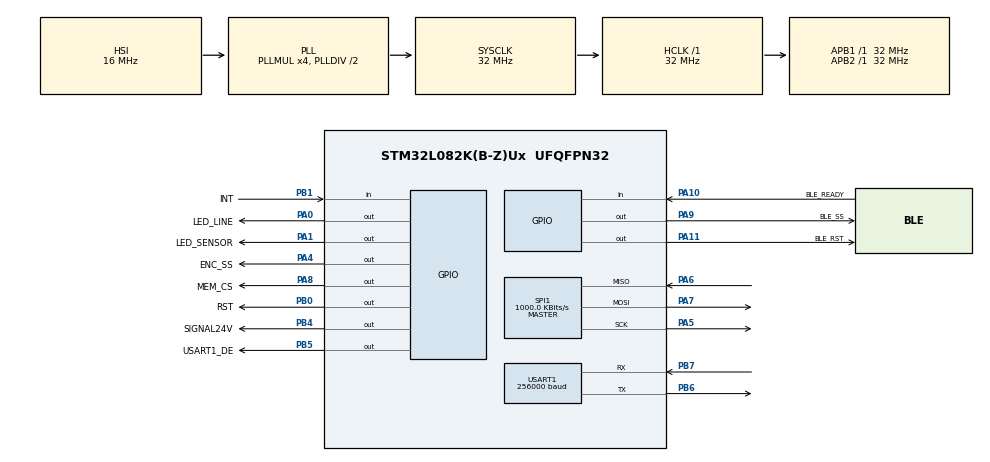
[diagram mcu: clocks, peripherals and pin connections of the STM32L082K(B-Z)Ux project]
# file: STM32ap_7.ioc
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ADC.ContinuousConvMode=ENABLE
ADC.SamplingTime=ADC_SAMPLETIME_39CYCLES_5
IWDG.Prescaler=IWDG_PRESCALER_64
IWDG.Reload=3000
IWDG.Window=3000
Mcu.Family=STM32L0
Mcu.Name=STM32L082K(B-Z)Ux
Mcu.Package=UFQFPN32
NVIC.TIM2_IRQn=true\:0\:0\:false\:false\:true\:true\:true
NVIC.TIM6_DAC_IRQn=true\:0\:0\:false\:false\:true\:true\:true
NVIC.USART1_IRQn=true\:1\:0\:true\:false\:true\:true\:true
PA0.GPIO_Label=LED_LINE
PA0.Signal=GPIO_Output
PA1.GPIO_Label=LED_SENSOR
PA1.Signal=GPIO_Output
PA10.GPIO_Label=BLE_READY
PA10.GPIO_PuPd=GPIO_PULLUP
PA10.Signal=GPIO_Input
PA11.GPIO_Label=BLE_RST
PA11.Signal=GPIO_Output
PA13.Mode=Serial_Wire
PA13.Signal=SYS_SWDIO
PA14.Mode=Serial_Wire
PA14.Signal=SYS_SWCLK
PA4.GPIO_Label=ENC_SS
PA4.GPIO_PuPd=GPIO_PULLUP
PA4.PinState=GPIO_PIN_SET
PA4.Signal=GPIO_Output
PA5.Mode=Full_Duplex_Master
PA5.Signal=SPI1_SCK
PA6.Mode=Full_Duplex_Master
PA6.Signal=SPI1_MISO
PA7.Mode=Full_Duplex_Master
PA7.Signal=SPI1_MOSI
PA8.GPIO_Label=MEM_CS
PA8.GPIO_PuPd=GPIO_PULLUP
PA8.PinState=GPIO_PIN_SET
PA8.Signal=GPIO_Output
PA9.GPIO_Label=BLE_SS
PA9.GPIO_PuPd=GPIO_PULLUP
PA9.PinState=GPIO_PIN_SET
PA9.Signal=GPIO_Output
PB0.GPIO_Label=RST
PB0.Signal=GPIO_Output
PB1.GPIO_Label=INT
PB1.Signal=GPIO_Input
PB4.GPIO_Label=SIGNAL24V
PB4.Signal=GPIO_Output
PB5.GPIO_Label=USART1_DE
PB5.Signal=GPIO_Output
PB6.Mode=Asynchronous
PB6.Signal=USART1_TX
PB7.Mode=Asynchronous
PB7.Signal=USART1_RX
ProjectManager.HeapSize=0x200
ProjectManager.StackSize=0x400
ProjectManager.TargetToolchain=Makefile
RCC.AHBFreq_Value=32000000
RCC.APB1Freq_Value=32000000
RCC.APB1TimFreq_Value=32000000
RCC.APB2Freq_Value=32000000
RCC.APB2TimFreq_Value=32000000
RCC.HCLKFreq_Value=32000000
RCC.HSI16_VALUE=16000000
RCC.HSI48_VALUE=48000000
RCC.HSI_VALUE=16000000
RCC.LSE_VALUE=32768
RCC.MSI_VALUE=2097000
RCC.PLLMUL=RCC_PLLMUL_4
RCC.SYSCLKFreq_VALUE=32000000
RCC.SYSCLKSource=RCC_SYSCLKSOURCE_PLLCLK
RCC.VCOOutputFreq_Value=64000000
SPI1.BaudRatePrescaler=SPI_BAUDRATEPRESCALER_32
SPI1.CalculateBaudRate=1000.0 KBits/s
SPI1.Direction=SPI_DIRECTION_2LINES
SPI1.Mode=SPI_MODE_MASTER
SPI1.VirtualType=VM_MASTER
TIM2.Period=32000-1
TIM2.Prescaler=1000-1
TIM6.Period=1000-1
TIM6.Prescaler=32-1
USART1.BaudRate=256000
USART1.VirtualMode-Asynchronous=VM_ASYNC
VP_ADC_TempSens_Input.Mode=IN-TempSens
VP_ADC_Vref_Input.Mode=IN-Vrefint
VP_IWDG_VS_IWDG.Mode=IWDG_Activate
VP_TIM2_VS_ClockSourceINT.Mode=Internal
VP_TIM6_VS_ClockSourceINT.Mode=Enable_Timer
board=custom

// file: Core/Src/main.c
/* USER CODE BEGIN Header */
/**
  ******************************************************************************
  * @file           : main.c
  * @brief          : Main program body
  ******************************************************************************
  * @attention
  *
  * <h2><center>&copy; Copyright (c) 2021 STMicroelectronics.
  * All rights reserved.</center></h2>
  *
  * This software component is licensed by ST under BSD 3-Clause license,
  * the "License"; You may not use this file except in compliance with the
  * License. You may obtain a copy of the License at:
  *                        opensource.org/licenses/BSD-3-Clause
  *
  ******************************************************************************
  */
/* USER CODE END Header */
#include "main.h"

/* USER CODE BEGIN Includes */
#include "ETH/Internet.h"
#include "API/AttenderAPI.h"
#include "buffer/CoderBuffer.h"
#include "buffer/aes.h"
#include "buffer/base64.h"
#include "JSON/cJSON.h"
#include "memory/memory.h"
#include "programmer/programmer.h"
#include "Sensor.h"
/* USER CODE END Includes */

/* USER CODE BEGIN PTD */
#define smartios_versionCode "v.B.kor.recovery"
#define smartios_versionDate "20210920102130"

const char* SMARTIOS_VER  = smartios_versionCode;
const char* SMARTIOS_DATE = smartios_versionDate;

// first settings
Date nowDate;
//cJSON* saveDataJSON;
SavedData saveData;

#define USE_SAVEDATA_RECOVER

#ifdef USE_SAVEDATA_RECOVER
SavedData saveDataRecover = {0,};

#endif
/* USER CODE END PTD */

ADC_HandleTypeDef hadc;

IWDG_HandleTypeDef hiwdg;

SPI_HandleTypeDef hspi1;

TIM_HandleTypeDef htim2;
TIM_HandleTypeDef htim6;

UART_HandleTypeDef huart1;

void SystemClock_Config(void);
static void MX_GPIO_Init(void);
static void MX_SPI1_Init(void);
static void MX_USART1_UART_Init(void);
static void MX_ADC_Init(void);
static void MX_IWDG_Init(void);
static void MX_TIM2_Init(void);
static void MX_TIM6_Init(void);

/* USER CODE BEGIN 0 */
BOOL isCountNetWDG = FALSE;
uint32_t countNetWDG = 0;
uint32_t networkONtimer;
uint32_t ipcdTimer;
SOCKET debug_udp = UDP_INVALID_SOCKET;
IP_ADDR debug_udpIP = {255,255,255,255};
MAC_ADDR myMAC;
BOOL isCheckedFirmwareBackup  = FALSE;
BOOL isBackupNeeded  = FALSE;

uint8_t AESKeyBuffer[48];
/* USER CODE END 0 */

int main(void)
{

  /* MCU Configuration--------------------------------------------------------*/

  /* Reset of all peripherals, Initializes the Flash interface and the Systick. */
  HAL_Init();

  /* Configure the system clock */
  SystemClock_Config();

  /* USER CODE BEGIN SysInit */
  calibrate();
  Addstr_SystemInitalize();
  /* USER CODE END SysInit */

  /* Initialize all configured peripherals */
  MX_GPIO_Init();
  MX_SPI1_Init();
  MX_USART1_UART_Init();
  MX_ADC_Init();
  MX_IWDG_Init();
  MX_TIM2_Init();
  MX_TIM6_Init();
  /* USER CODE BEGIN 2 */
  UARTReceiver_init();
  printf("booting the recovery...\n");
  LEDBlink(1,400);

  extern BOOL isOnline;
  isOnline = -2;

  HAL_GPIO_WritePin(MEM_CS_GPIO_Port,MEM_CS_Pin,GPIO_PIN_SET);
  HAL_GPIO_WritePin(BLE_SS_GPIO_Port,BLE_SS_Pin,GPIO_PIN_SET);
  HAL_GPIO_WritePin(ENC_SS_GPIO_Port,ENC_SS_Pin,GPIO_PIN_SET);
  HAL_GPIO_WritePin(BLE_RST_GPIO_Port,BLE_RST_Pin,GPIO_PIN_RESET);// NRF52 keep reset
  HAL_GPIO_WritePin(SIGNAL24V_GPIO_Port,SIGNAL24V_Pin,TRUE);

  printf("Starting SMARTIOS AP recovery..\n");

  FLASH_MEM_Init();
  yield();

  printf("----------------------------------------------\n");
  printf("Firmware Verson : %s\n",SMARTIOS_VER);
  printf("Firmware Date   : %s\n",SMARTIOS_DATE);
  printf("----------------------------------------------\n");

  HAL_TIM_Base_Start_IT(&htim6);
  HAL_TIM_Base_Start_IT(&htim2);

  extern uint8_t UUID[16];

  myMAC = MACSet(0x12,0x23,0x34,(UUID[0]+UUID[3]+UUID[6]+UUID[9]+UUID[12]+UUID[15])&0xFF,(UUID[1]+UUID[4]+UUID[7]+UUID[10]+UUID[13])&0xFF,(UUID[2]+UUID[5]+UUID[8]+UUID[11]+UUID[14]) & 0xFF);

  //if it is blocked here, Please make SPI lines stablized. It may stuck during the SPI progress.
  printf("Starting DHCP...\n");
  EC_Init(saveData.apip,saveData.netmask,saveData.gwip,myMAC,1);
  //EC_Init(IPSet(192,168,0,28),IPSet(255,255,255,255),IPSet(192,168,0,1),myMAC,0);

  ipcdTimer = HAL_GetTick() - saveData.ipcdInterval*1000;
  countNetWDG = HAL_GetTick();

  checkConnectivity(TRUE);

  LEDBlink(2,400);

  /* USER CODE END 2 */

  /* Infinite loop */
  /* USER CODE BEGIN WHILE */
  while (1)
  {
    yield();
    if(nic_is_linked)checkConnectivity(FALSE);

    if(CheckIfOnline() != TRUE)continue;

    checkConnectivity(TRUE);
    Start_DebugUDP();
    dbuglog("SYSTEM ON!",TRUE);
    Debug("recovery start!\n");
    networkONtimer = HAL_GetTick();
    LEDBlink(4,500);

    while (nic_linked_and_ip_address_valid && isOnline)//retry internet.
    {
      if(HAL_GetTick() - ipcdTimer > 60*1000)
        Timer_ipcd();
    /* USER CODE END WHILE */

    /* USER CODE BEGIN 3 */
      //HAL_IWDG_Refresh(&hiwdg);
      yield();
      GetDebugRx();
    }
    End_DebugUDP();
    resetNetwork();
    checkConnectivity(TRUE);
    countNetWDG = HAL_GetTick();//exit loop
  }
  /* USER CODE END 3 */
}

void SystemClock_Config(void)
{
  RCC_OscInitTypeDef RCC_OscInitStruct = {0};
  RCC_ClkInitTypeDef RCC_ClkInitStruct = {0};
  RCC_PeriphCLKInitTypeDef PeriphClkInit = {0};

  /** Configure the main internal regulator output voltage
  */
  __HAL_PWR_VOLTAGESCALING_CONFIG(PWR_REGULATOR_VOLTAGE_SCALE1);
  /** Initializes the RCC Oscillators according to the specified parameters
  * in the RCC_OscInitTypeDef structure.
  */
  RCC_OscInitStruct.OscillatorType = RCC_OSCILLATORTYPE_HSI|RCC_OSCILLATORTYPE_LSI;
  RCC_OscInitStruct.HSIState = RCC_HSI_ON;
  RCC_OscInitStruct.HSICalibrationValue = RCC_HSICALIBRATION_DEFAULT;
  RCC_OscInitStruct.LSIState = RCC_LSI_ON;
  RCC_OscInitStruct.PLL.PLLState = RCC_PLL_ON;
  RCC_OscInitStruct.PLL.PLLSource = RCC_PLLSOURCE_HSI;
  RCC_OscInitStruct.PLL.PLLMUL = RCC_PLLMUL_4;
  RCC_OscInitStruct.PLL.PLLDIV = RCC_PLLDIV_2;
  if (HAL_RCC_OscConfig(&RCC_OscInitStruct) != HAL_OK)
  {
    Error_Handler();
  }
  /** Initializes the CPU, AHB and APB buses clocks
  */
  RCC_ClkInitStruct.ClockType = RCC_CLOCKTYPE_HCLK|RCC_CLOCKTYPE_SYSCLK
                              |RCC_CLOCKTYPE_PCLK1|RCC_CLOCKTYPE_PCLK2;
  RCC_ClkInitStruct.SYSCLKSource = RCC_SYSCLKSOURCE_PLLCLK;
  RCC_ClkInitStruct.AHBCLKDivider = RCC_SYSCLK_DIV1;
  RCC_ClkInitStruct.APB1CLKDivider = RCC_HCLK_DIV1;
  RCC_ClkInitStruct.APB2CLKDivider = RCC_HCLK_DIV1;

  if (HAL_RCC_ClockConfig(&RCC_ClkInitStruct, FLASH_LATENCY_1) != HAL_OK)
  {
    Error_Handler();
  }
  PeriphClkInit.PeriphClockSelection = RCC_PERIPHCLK_USART1;
  PeriphClkInit.Usart1ClockSelection = RCC_USART1CLKSOURCE_PCLK2;
  if (HAL_RCCEx_PeriphCLKConfig(&PeriphClkInit) != HAL_OK)
  {
    Error_Handler();
  }
}

static void MX_ADC_Init(void)
{

  ADC_ChannelConfTypeDef sConfig = {0};

  /** Configure the global features of the ADC (Clock, Resolution, Data Alignment and number of conversion)
  */
  hadc.Instance = ADC1;
  hadc.Init.OversamplingMode = DISABLE;
  hadc.Init.ClockPrescaler = ADC_CLOCK_SYNC_PCLK_DIV2;
  hadc.Init.Resolution = ADC_RESOLUTION_12B;
  hadc.Init.SamplingTime = ADC_SAMPLETIME_39CYCLES_5;
  hadc.Init.ScanConvMode = ADC_SCAN_DIRECTION_FORWARD;
  hadc.Init.DataAlign = ADC_DATAALIGN_RIGHT;
  hadc.Init.ContinuousConvMode = ENABLE;
  hadc.Init.DiscontinuousConvMode = DISABLE;
  hadc.Init.ExternalTrigConvEdge = ADC_EXTERNALTRIGCONVEDGE_NONE;
  hadc.Init.ExternalTrigConv = ADC_SOFTWARE_START;
  hadc.Init.DMAContinuousRequests = DISABLE;
  hadc.Init.EOCSelection = ADC_EOC_SINGLE_CONV;
  hadc.Init.Overrun = ADC_OVR_DATA_PRESERVED;
  hadc.Init.LowPowerAutoWait = DISABLE;
  hadc.Init.LowPowerFrequencyMode = DISABLE;
  hadc.Init.LowPowerAutoPowerOff = DISABLE;
  if (HAL_ADC_Init(&hadc) != HAL_OK)
  {
    Error_Handler();
  }
  /** Configure for the selected ADC regular channel to be converted.
  */
  sConfig.Channel = ADC_CHANNEL_TEMPSENSOR;
  sConfig.Rank = ADC_RANK_CHANNEL_NUMBER;
  if (HAL_ADC_ConfigChannel(&hadc, &sConfig) != HAL_OK)
  {
    Error_Handler();
  }
  /** Configure for the selected ADC regular channel to be converted.
  */
  sConfig.Channel = ADC_CHANNEL_VREFINT;
  if (HAL_ADC_ConfigChannel(&hadc, &sConfig) != HAL_OK)
  {
    Error_Handler();
  }

}

static void MX_IWDG_Init(void)
{

  hiwdg.Instance = IWDG;
  hiwdg.Init.Prescaler = IWDG_PRESCALER_256;
  hiwdg.Init.Window = 3000;
  hiwdg.Init.Reload = 3000;
  if (HAL_IWDG_Init(&hiwdg) != HAL_OK)
  {
    Error_Handler();
  }

}

static void MX_SPI1_Init(void)
{

  /* SPI1 parameter configuration*/
  hspi1.Instance = SPI1;
  hspi1.Init.Mode = SPI_MODE_MASTER;
  hspi1.Init.Direction = SPI_DIRECTION_2LINES;
  hspi1.Init.DataSize = SPI_DATASIZE_8BIT;
  hspi1.Init.CLKPolarity = SPI_POLARITY_LOW;
  hspi1.Init.CLKPhase = SPI_PHASE_1EDGE;
  hspi1.Init.NSS = SPI_NSS_SOFT;
  hspi1.Init.BaudRatePrescaler = SPI_BAUDRATEPRESCALER_32;
  hspi1.Init.FirstBit = SPI_FIRSTBIT_MSB;
  hspi1.Init.TIMode = SPI_TIMODE_DISABLE;
  hspi1.Init.CRCCalculation = SPI_CRCCALCULATION_DISABLE;
  hspi1.Init.CRCPolynomial = 7;
  if (HAL_SPI_Init(&hspi1) != HAL_OK)
  {
    Error_Handler();
  }

}

static void MX_TIM2_Init(void)
{

  TIM_ClockConfigTypeDef sClockSourceConfig = {0};
  TIM_MasterConfigTypeDef sMasterConfig = {0};

  htim2.Instance = TIM2;
  htim2.Init.Prescaler = 1000-1;
  htim2.Init.CounterMode = TIM_COUNTERMODE_UP;
  htim2.Init.Period = 32000-1;
  htim2.Init.ClockDivision = TIM_CLOCKDIVISION_DIV1;
  htim2.Init.AutoReloadPreload = TIM_AUTORELOAD_PRELOAD_DISABLE;
  if (HAL_TIM_Base_Init(&htim2) != HAL_OK)
  {
    Error_Handler();
  }
  sClockSourceConfig.ClockSource = TIM_CLOCKSOURCE_INTERNAL;
  if (HAL_TIM_ConfigClockSource(&htim2, &sClockSourceConfig) != HAL_OK)
  {
    Error_Handler();
  }
  sMasterConfig.MasterOutputTrigger = TIM_TRGO_RESET;
  sMasterConfig.MasterSlaveMode = TIM_MASTERSLAVEMODE_DISABLE;
  if (HAL_TIMEx_MasterConfigSynchronization(&htim2, &sMasterConfig) != HAL_OK)
  {
    Error_Handler();
  }

}

static void MX_TIM6_Init(void)
{

  TIM_MasterConfigTypeDef sMasterConfig = {0};

  htim6.Instance = TIM6;
  htim6.Init.Prescaler = 32-1;
  htim6.Init.CounterMode = TIM_COUNTERMODE_UP;
  htim6.Init.Period = 1000-1;
  htim6.Init.AutoReloadPreload = TIM_AUTORELOAD_PRELOAD_DISABLE;
  if (HAL_TIM_Base_Init(&htim6) != HAL_OK)
  {
    Error_Handler();
  }
  sMasterConfig.MasterOutputTrigger = TIM_TRGO_RESET;
  sMasterConfig.MasterSlaveMode = TIM_MASTERSLAVEMODE_DISABLE;
  if (HAL_TIMEx_MasterConfigSynchronization(&htim6, &sMasterConfig) != HAL_OK)
  {
    Error_Handler();
  }

}

static void MX_USART1_UART_Init(void)
{

  huart1.Instance = USART1;
  huart1.Init.BaudRate = 256000;
  huart1.Init.WordLength = UART_WORDLENGTH_8B;
  huart1.Init.StopBits = UART_STOPBITS_1;
  huart1.Init.Parity = UART_PARITY_NONE;
  huart1.Init.Mode = UART_MODE_TX_RX;
  huart1.Init.HwFlowCtl = UART_HWCONTROL_NONE;
  huart1.Init.OverSampling = UART_OVERSAMPLING_16;
  huart1.Init.OneBitSampling = UART_ONE_BIT_SAMPLE_DISABLE;
  huart1.AdvancedInit.AdvFeatureInit = UART_ADVFEATURE_NO_INIT;
  if (HAL_UART_Init(&huart1) != HAL_OK)
  {
    Error_Handler();
  }

}

static void MX_GPIO_Init(void)
{
  GPIO_InitTypeDef GPIO_InitStruct = {0};

  /* GPIO Ports Clock Enable */
  __HAL_RCC_GPIOA_CLK_ENABLE();
  __HAL_RCC_GPIOB_CLK_ENABLE();

  /*Configure GPIO pin Output Level */
  HAL_GPIO_WritePin(GPIOA, LED_LINE_Pin|LED_SENSOR_Pin|BLE_RST_Pin, GPIO_PIN_RESET);

  /*Configure GPIO pin Output Level */
  HAL_GPIO_WritePin(GPIOA, ENC_SS_Pin|MEM_CS_Pin|BLE_SS_Pin, GPIO_PIN_SET);

  /*Configure GPIO pin Output Level */
  HAL_GPIO_WritePin(GPIOB, RST_Pin|SIGNAL24V_Pin|USART1_DE_Pin, GPIO_PIN_RESET);

  /*Configure GPIO pins : LED_LINE_Pin LED_SENSOR_Pin BLE_RST_Pin */
  GPIO_InitStruct.Pin = LED_LINE_Pin|LED_SENSOR_Pin|BLE_RST_Pin;
  GPIO_InitStruct.Mode = GPIO_MODE_OUTPUT_PP;
  GPIO_InitStruct.Pull = GPIO_NOPULL;
  GPIO_InitStruct.Speed = GPIO_SPEED_FREQ_LOW;
  HAL_GPIO_Init(GPIOA, &GPIO_InitStruct);

  /*Configure GPIO pins : ENC_SS_Pin MEM_CS_Pin BLE_SS_Pin */
  GPIO_InitStruct.Pin = ENC_SS_Pin|MEM_CS_Pin|BLE_SS_Pin;
  GPIO_InitStruct.Mode = GPIO_MODE_OUTPUT_PP;
  GPIO_InitStruct.Pull = GPIO_PULLUP;
  GPIO_InitStruct.Speed = GPIO_SPEED_FREQ_LOW;
  HAL_GPIO_Init(GPIOA, &GPIO_InitStruct);

  /*Configure GPIO pins : RST_Pin SIGNAL24V_Pin USART1_DE_Pin */
  GPIO_InitStruct.Pin = RST_Pin|SIGNAL24V_Pin|USART1_DE_Pin;
  GPIO_InitStruct.Mode = GPIO_MODE_OUTPUT_PP;
  GPIO_InitStruct.Pull = GPIO_NOPULL;
  GPIO_InitStruct.Speed = GPIO_SPEED_FREQ_LOW;
  HAL_GPIO_Init(GPIOB, &GPIO_InitStruct);

  /*Configure GPIO pin : INT_Pin */
  GPIO_InitStruct.Pin = INT_Pin;
  GPIO_InitStruct.Mode = GPIO_MODE_INPUT;
  GPIO_InitStruct.Pull = GPIO_NOPULL;
  HAL_GPIO_Init(INT_GPIO_Port, &GPIO_InitStruct);

  /*Configure GPIO pin : BLE_READY_Pin */
  GPIO_InitStruct.Pin = BLE_READY_Pin;
  GPIO_InitStruct.Mode = GPIO_MODE_INPUT;
  GPIO_InitStruct.Pull = GPIO_PULLUP;
  HAL_GPIO_Init(BLE_READY_GPIO_Port, &GPIO_InitStruct);

}

/* USER CODE BEGIN 4 */
void User_DeInit()
{
  HAL_ADC_DeInit(&hadc);
  HAL_SPI_DeInit(&hspi1);
  HAL_TIM_Base_DeInit(&htim2);
  HAL_TIM_Base_DeInit(&htim6);
  HAL_UART_DeInit(&huart1);
  HAL_GPIO_DeInit(GPIOA, LED_LINE_Pin|LED_SENSOR_Pin|BLE_RST_Pin);
  HAL_GPIO_DeInit(GPIOA, ENC_SS_Pin|MEM_CS_Pin|BLE_SS_Pin);
  HAL_GPIO_DeInit(GPIOB, RST_Pin|GPIO_PIN_3);
  HAL_GPIO_DeInit(INT_GPIO_Port, INT_Pin);
  HAL_GPIO_DeInit(BLE_READY_GPIO_Port, BLE_READY_Pin);
}

int _write(int file, char* p, int len)
{
  HAL_GPIO_WritePin(USART1_DE_GPIO_Port,USART1_DE_Pin,SET);
  HAL_UART_Transmit(&huart1,(uint8_t*)p,len,1000);
  HAL_GPIO_WritePin(USART1_DE_GPIO_Port,USART1_DE_Pin,RESET);
  debugUDP(p,len-1);
  return len;
}
void Send_RS485(uint8_t * data)
{
  HAL_GPIO_WritePin(USART1_DE_GPIO_Port,USART1_DE_Pin,SET);
  HAL_UART_Transmit(&huart1,"\02",1,100);
  HAL_UART_Transmit(&huart1,data,strlen(data),100);
  HAL_UART_Transmit(&huart1,"\03",1,100);
  HAL_GPIO_WritePin(USART1_DE_GPIO_Port,USART1_DE_Pin,RESET);
}
uint32_t rando()
{
  int t = HAL_GetTick();
  return ((t&0x00FF)<<16 | (t&0xFF00)>>16) * ((t&0x0F)<<8 | (t&0xF0)>>8) - t;
}
void resetNetwork()
{
  extern BOOL isOnline;
  isOnline = FALSE;
  nic_is_linked = FALSE;
}
uint8_t* getKeyIv(int code){
  if(MEM_NormalRead(Key_Start+code*48,AESKeyBuffer,48)==FAILED){
    printf("Key read CORRUPT.\n");
    return NULL;
  }
  return AESKeyBuffer;
}

void FLASH_MEM_Init()
{
  //Initalizing the FLASH memory
  if(MEM_INIT()==FAILED)system_break();

    //prints flash data
  MEM_Print(0,256);

  for(int i=0;i<10;i++)
    if(updatepgRunningFlag(0xAA) == SUCCEED)break;

  int SavedAPCode = 0;
  MEM_NormalRead(0x009000,&SavedAPCode,4);
  printf("Saved APCode = %08X\n",SavedAPCode);

  //APCode Check
  //1. if apcode in MEMORY is 0 and that in FLASH is valid
  if(SavedAPCode > 0 && SavedAPCode != 0xFFFFFFFF && saveData.apcode != SavedAPCode)
  {
    //apcode lost.
    // do apcode recovery
    printf("APCode Recovery!!\n");
    saveData.apcode = SavedAPCode;
  }
  //2. if apcode in MEMORY is valid and that in FLASH is not valid
  else if(SavedAPCode <= 0 || SavedAPCode == 0xFFFFFFFF && !checkAPCodeisInvalid())
  {
    if(SavedAPCode != saveData.apcode)
    {
      MEM_EraseSector(0x009000);
      MEM_Program(0x009000,&saveData.apcode,4);
    }
  }
}
Result updatepgRunningFlag(uint8_t value)
{
  uint8_t pgRunningFlag = 0;
  MEM_NormalRead(0x008000,&pgRunningFlag,1);
  if(pgRunningFlag != value){
    printf("updating PGFlag %02X->%02X\n",pgRunningFlag,pgRunningFlag=value);
    MEM_EraseSector(0x008000);
    MEM_Program(0x008000,&pgRunningFlag,1);
  }
  return pgRunningFlag != value ? FAILED : SUCCEED;
}
BOOL shouldFirmwareBackup(){
  uint8_t buff[16];
  memset(buff,0xFF,16);
  return MEM_Verify(0xE0000,buff,16) == SUCCEED;
}
BOOL checkAPCodeisInvalid(){
  return saveData.apcode == 0xFFFFFFFF || saveData.apcode < 0;
}
void system_break()
{
  MEM_Print(0x00000,0x300);
  printf("system break;\n");
  Error_Handler();
}

BOOL CheckIfOnline()
{
  if(HAL_GetTick() - countNetWDG > 30000)// processing Netdog
    process_Netdog();

  if(nic_is_linked == 0)return FALSE;
  if(nic_linked_and_ip_address_valid == 0)return FALSE;//retry internet.

  checkConnectivity(TRUE);
  waitwithYield(100);

  if(saveData.apcode == 0)
  {
    printf("apcode is zero. pass echo test phase.\n");
    return TRUE;
  }

  Result echo_res;
  for(int i=0;i<4;i++){
    echo_res = API_Echo();
    if(echo_res == SUCCEED)break;
    waitwithYield(500);
  }

  if(echo_res != SUCCEED)
  {
    printf("DHCP Enable!!\n");
    SaveDataUpdate update;
    Date pgverdate = Convert_Str2Date(SMARTIOS_DATE);
    memset(&update,0,sizeof(SaveDataUpdate));
    saveData.isDHCP = TRUE;
    printf("Echo attempt 4 of 4 failed.\n");
    resetNetwork();
  }

  return echo_res == SUCCEED;
}
void process_Netdog()
{
  resetNetwork();
  Debug("NET Reset!\n");
  EC_Init(saveData.apip,saveData.netmask,saveData.gwip,myMAC,saveData.isDHCP = !saveData.isDHCP);
  countNetWDG = HAL_GetTick();
}

void Timer_ipcd()
{
  if(API_ipcd() == FAILED)
  {
    static int ipcdFailCount;
    if((ipcdFailCount++)>6){
      ipcdFailCount = 0;
      ipcdTimer = HAL_GetTick();
      return;
    }

    yield();
    if(API_Echo() == FAILED)
    {
      checkConnectivity(TRUE);
      printf("IPCD Error\n");
      if(Send_Ping("www.google.com",4) == FAILED)
        resetNetwork();
    }

    ipcdTimer = HAL_GetTick() + saveData.ipcdInterval*1000 - 5000;//5 sec timeout
  }
  else
  {
    ipcdTimer = HAL_GetTick();
    dbuglog("IPCD Succeed!",TRUE);

    static BOOL sentapflgc = FALSE;
    if(!sentapflgc)
    {
      API_apipc(saveData.apip,saveData.gwip,saveData.netmask,saveData.dnsip,saveData.dns2ip);
      sentapflgc = TRUE;
    }
  }

}
void LEDBlink(int count,uint32_t duration)
{
  uint32_t time = (duration/count)/2;
  for(int i=0;i<count;i++)
  {
    HAL_GPIO_WritePin(LED_SENSOR_GPIO_Port,LED_SENSOR_Pin,SET);
    HAL_Delay(time);
    HAL_GPIO_WritePin(LED_SENSOR_GPIO_Port,LED_SENSOR_Pin,RESET);
    HAL_Delay(time);
  }
}
/* USER CODE END 4 */

void Error_Handler(void)
{
  /* USER CODE BEGIN Error_Handler_Debug */
  /* User can add his own implementation to report the HAL error return state */
  __disable_irq();
  while (1)
  {
    HAL_GPIO_WritePin(LED_SENSOR_GPIO_Port,LED_SENSOR_Pin,GPIO_PIN_SET);
    HAL_GPIO_WritePin(LED_LINE_GPIO_Port,LED_LINE_Pin,GPIO_PIN_SET);
    up_udelay(1000*1000);

    HAL_GPIO_WritePin(LED_SENSOR_GPIO_Port,LED_SENSOR_Pin,GPIO_PIN_RESET);
    HAL_GPIO_WritePin(LED_LINE_GPIO_Port,LED_LINE_Pin,GPIO_PIN_RESET);
    up_udelay(1000*1000);
  }
  /* USER CODE END Error_Handler_Debug */
}

#ifdef  USE_FULL_ASSERT
/**
  * @brief  Reports the name of the source file and the source line number
  *         where the assert_param error has occurred.
  * @param  file: pointer to the source file name
  * @param  line: assert_param error line source number
  * @retval None
  */
void assert_failed(uint8_t *file, uint32_t line)
{
  /* USER CODE BEGIN 6 */
  printf("Wrong parameters value: file %s on line %d\r\n", file, line);
  /* User can add his own implementation to report the file name and line number,
     ex: printf("Wrong parameters value: file %s on line %d\r\n", file, line) */
  /* USER CODE END 6 */
}
#endif /* USE_FULL_ASSERT */

/************************ (C) COPYRIGHT STMicroelectronics *****END OF FILE****/
